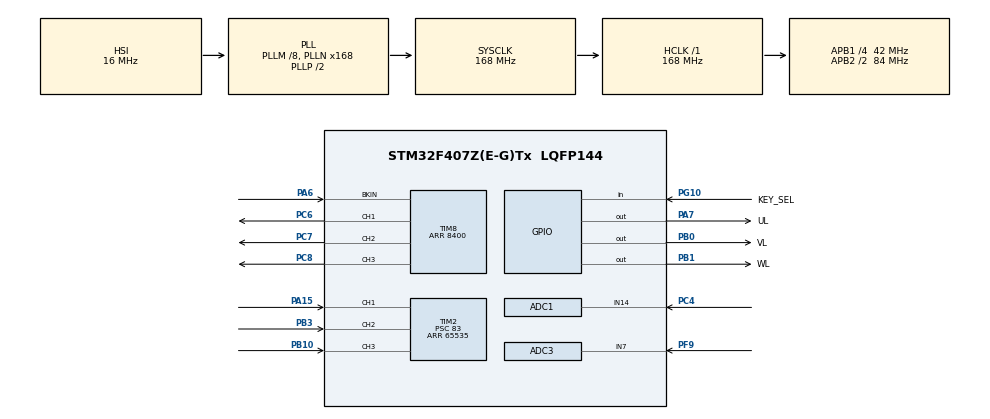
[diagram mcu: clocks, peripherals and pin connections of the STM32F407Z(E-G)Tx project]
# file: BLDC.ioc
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ADC1.Channel-0\#ChannelRegularConversion=ADC_CHANNEL_14
ADC1.DMAContinuousRequests=ENABLE
ADC1.NbrOfConversionFlag=1
ADC1.Rank-0\#ChannelRegularConversion=1
ADC1.SamplingTime-0\#ChannelRegularConversion=ADC_SAMPLETIME_3CYCLES
ADC1.master=1
ADC3.Channel-0\#ChannelRegularConversion=ADC_CHANNEL_7
ADC3.DMAContinuousRequests=ENABLE
ADC3.NbrOfConversionFlag=1
Dma.ADC1.1.Direction=DMA_PERIPH_TO_MEMORY
Dma.ADC1.1.FIFOMode=DMA_FIFOMODE_DISABLE
Dma.ADC1.1.Instance=DMA2_Stream0
Dma.ADC1.1.MemDataAlignment=DMA_MDATAALIGN_HALFWORD
Dma.ADC1.1.MemInc=DMA_MINC_ENABLE
Dma.ADC1.1.Mode=DMA_CIRCULAR
Dma.ADC1.1.PeriphDataAlignment=DMA_PDATAALIGN_HALFWORD
Dma.ADC1.1.PeriphInc=DMA_PINC_DISABLE
Dma.ADC1.1.Priority=DMA_PRIORITY_HIGH
Dma.ADC3.0.Direction=DMA_PERIPH_TO_MEMORY
Dma.ADC3.0.FIFOMode=DMA_FIFOMODE_DISABLE
Dma.ADC3.0.Instance=DMA2_Stream1
Dma.ADC3.0.MemDataAlignment=DMA_MDATAALIGN_HALFWORD
Dma.ADC3.0.MemInc=DMA_MINC_ENABLE
Dma.ADC3.0.Mode=DMA_CIRCULAR
Dma.ADC3.0.PeriphDataAlignment=DMA_PDATAALIGN_HALFWORD
Dma.ADC3.0.PeriphInc=DMA_PINC_DISABLE
Dma.ADC3.0.Priority=DMA_PRIORITY_HIGH
Dma.Request0=ADC3
Dma.Request1=ADC1
Mcu.Family=STM32F4
Mcu.Name=STM32F407Z(E-G)Tx
Mcu.Package=LQFP144
NVIC.DMA2_Stream0_IRQn=true\:0\:0\:false\:false\:true\:false\:true
NVIC.DMA2_Stream1_IRQn=true\:0\:0\:false\:false\:true\:false\:true
NVIC.PriorityGroup=NVIC_PRIORITYGROUP_4
NVIC.TIM2_IRQn=true\:0\:0\:false\:false\:true\:true\:true
NVIC.TIM3_IRQn=true\:0\:0\:false\:false\:true\:true\:true
NVIC.TIM8_BRK_TIM12_IRQn=true\:0\:0\:false\:false\:true\:true\:true
PA13.Mode=Serial_Wire
PA13.Signal=SYS_JTMS-SWDIO
PA14.Mode=Serial_Wire
PA14.Signal=SYS_JTCK-SWCLK
PA15.Signal=S_TIM2_CH1_ETR
PA6.Mode=Activate-Break-Input
PA6.Signal=TIM8_BKIN
PA7.GPIO_Label=UL
PA7.GPIO_ModeDefaultOutputPP=GPIO_MODE_OUTPUT_PP
PA7.GPIO_PuPd=GPIO_PULLUP
PA7.GPIO_Speed=GPIO_SPEED_FREQ_VERY_HIGH
PA7.PinState=GPIO_PIN_RESET
PA7.Signal=GPIO_Output
PB0.GPIO_Label=VL
PB0.GPIO_ModeDefaultOutputPP=GPIO_MODE_OUTPUT_PP
PB0.GPIO_PuPd=GPIO_PULLUP
PB0.GPIO_Speed=GPIO_SPEED_FREQ_VERY_HIGH
PB0.PinState=GPIO_PIN_RESET
PB0.Signal=GPIO_Output
PB1.GPIO_Label=WL
PB1.GPIO_ModeDefaultOutputPP=GPIO_MODE_OUTPUT_PP
PB1.GPIO_PuPd=GPIO_PULLUP
PB1.GPIO_Speed=GPIO_SPEED_FREQ_VERY_HIGH
PB1.PinState=GPIO_PIN_RESET
PB1.Signal=GPIO_Output
PB10.Signal=S_TIM2_CH3
PB3.Signal=S_TIM2_CH2
PC4.Signal=ADCx_IN14
PC6.GPIO_Speed=GPIO_SPEED_FREQ_VERY_HIGH
PC6.Signal=S_TIM8_CH1
PC7.GPIO_Speed=GPIO_SPEED_FREQ_VERY_HIGH
PC7.Signal=S_TIM8_CH2
PC8.GPIO_Speed=GPIO_SPEED_FREQ_VERY_HIGH
PC8.Signal=S_TIM8_CH3
PF9.Mode=IN7
PF9.Signal=ADC3_IN7
PG10.GPIO_Label=KEY_SEL
PG10.GPIO_Mode=GPIO_MODE_INPUT
PG10.GPIO_PuPd=GPIO_PULLUP
PG10.Signal=GPIO_Input
PH0-OSC_IN.Mode=HSE-External-Oscillator
PH0-OSC_IN.Signal=RCC_OSC_IN
PH1-OSC_OUT.Mode=HSE-External-Oscillator
PH1-OSC_OUT.Signal=RCC_OSC_OUT
ProjectManager.HeapSize=0x200
ProjectManager.StackSize=0x400
ProjectManager.TargetToolchain=MDK-ARM V5.27
RCC.48MHZClocksFreq_Value=84000000
RCC.AHBFreq_Value=168000000
RCC.APB1CLKDivider=RCC_HCLK_DIV4
RCC.APB1Freq_Value=42000000
RCC.APB1TimFreq_Value=84000000
RCC.APB2CLKDivider=RCC_HCLK_DIV2
RCC.APB2Freq_Value=84000000
RCC.APB2TimFreq_Value=168000000
RCC.CortexFreq_Value=168000000
RCC.HCLKFreq_Value=168000000
RCC.HSE_VALUE=25000000
RCC.HSI_VALUE=16000000
RCC.LSE_VALUE=32768
RCC.PLLM=8
RCC.PLLN=168
RCC.SYSCLKFreq_VALUE=168000000
RCC.SYSCLKSource=RCC_SYSCLKSOURCE_PLLCLK
RCC.VCOOutputFreq_Value=336000000
SH.ADCx_IN14.0=ADC1_IN14,IN14
SH.S_TIM2_CH1_ETR.0=TIM2_CH1,Input_Capture1_from_TI1
SH.S_TIM2_CH2.0=TIM2_CH2,Input_Capture2_from_TI2
SH.S_TIM2_CH3.0=TIM2_CH3,Input_Capture3_from_TI3
SH.S_TIM8_CH1.0=TIM8_CH1,PWM Generation1 CH1
SH.S_TIM8_CH2.0=TIM8_CH2,PWM Generation2 CH2
SH.S_TIM8_CH3.0=TIM8_CH3,PWM Generation3 CH3
TIM2.AutoReloadPreload=TIM_AUTORELOAD_PRELOAD_ENABLE
TIM2.Channel-Input_Capture1_from_TI1=TIM_CHANNEL_1
TIM2.Channel-Input_Capture2_from_TI2=TIM_CHANNEL_2
TIM2.Channel-Input_Capture3_from_TI3=TIM_CHANNEL_3
TIM2.ICFilter_CH1=8
TIM2.ICFilter_CH2=8
TIM2.ICFilter_CH3=8
TIM2.ICPolarity_CH1=TIM_INPUTCHANNELPOLARITY_BOTHEDGE
TIM2.ICPolarity_CH2=TIM_INPUTCHANNELPOLARITY_BOTHEDGE
TIM2.ICPolarity_CH3=TIM_INPUTCHANNELPOLARITY_BOTHEDGE
TIM2.Period=65535
TIM2.Prescaler=83
TIM3.Period=99
TIM3.Prescaler=839
TIM8.AutoReloadPreload=TIM_AUTORELOAD_PRELOAD_ENABLE
TIM8.BreakPolarity=TIM_BREAKPOLARITY_LOW
TIM8.Channel-PWM\ Generation1\ CH1=TIM_CHANNEL_1
TIM8.Channel-PWM\ Generation2\ CH2=TIM_CHANNEL_2
TIM8.Channel-PWM\ Generation3\ CH3=TIM_CHANNEL_3
TIM8.OffStateIDLEMode=TIM_OSSI_ENABLE
TIM8.OffStateRunMode=TIM_OSSR_ENABLE
TIM8.Period=8400
VP_TIM2_VS_ClockSourceINT.Mode=Internal
VP_TIM2_VS_XOR.Mode=XOR_enable
VP_TIM3_VS_ClockSourceINT.Mode=Internal
VP_TIM8_VS_ClockSourceINT.Mode=Internal
board=custom

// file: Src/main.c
/* USER CODE BEGIN Header */
/**
  ******************************************************************************
  * @file           : main.c
  * @brief          : Main program body
  ******************************************************************************
  * @attention
  *
  * <h2><center>&copy; Copyright (c) 2022 STMicroelectronics.
  * All rights reserved.</center></h2>
  *
  * This software component is licensed by ST under BSD 3-Clause license,
  * the "License"; You may not use this file except in compliance with the
  * License. You may obtain a copy of the License at:
  *                        opensource.org/licenses/BSD-3-Clause
  *
  ******************************************************************************
  */
/* USER CODE END Header */

#include "main.h"

/* USER CODE BEGIN Includes */
#include "stm32_2.8_lcd.h"
/* USER CODE END Includes */

/* USER CODE BEGIN PD */
#define PWM_AL_OFF HAL_GPIO_WritePin(UL_GPIO_Port, UL_Pin, GPIO_PIN_RESET)
#define PWM_BL_OFF HAL_GPIO_WritePin(VL_GPIO_Port, VL_Pin, GPIO_PIN_RESET)
#define PWM_CL_OFF HAL_GPIO_WritePin(WL_GPIO_Port, WL_Pin, GPIO_PIN_RESET)

#define PWM_AL_ON HAL_GPIO_WritePin(UL_GPIO_Port, UL_Pin, GPIO_PIN_SET)
#define PWM_BL_ON HAL_GPIO_WritePin(VL_GPIO_Port, VL_Pin, GPIO_PIN_SET)
#define PWM_CL_ON HAL_GPIO_WritePin(WL_GPIO_Port, WL_Pin, GPIO_PIN_SET)

#define PERIOD 10     //采样周期
#define Kp 1.6     //比例系数
#define Ki 1      //积分时间常数
#define Kd 0      //微分时间常数
/* USER CODE END PD */

ADC_HandleTypeDef hadc1;
ADC_HandleTypeDef hadc3;
DMA_HandleTypeDef hdma_adc1;
DMA_HandleTypeDef hdma_adc3;

TIM_HandleTypeDef htim2;
TIM_HandleTypeDef htim3;
TIM_HandleTypeDef htim8;

/* USER CODE BEGIN PV */
uint32_t ADC_ConvertedValue0;
uint32_t ADC_ConvertedValue1;
int RSpeed=0, Out_PWM=0, SETSPEED=0;
int timecount, timecount1, Hallcount=0, key_1=0;
int Motor_Start_F=0, hall_status;
int hall_a, hall_b, hall_c;
double RV1=7.32;
double RV2=1120;
double t,vbus;
/* USER CODE END PV */

void SystemClock_Config(void);
static void MX_GPIO_Init(void);
static void MX_DMA_Init(void);
static void MX_ADC1_Init(void);
static void MX_ADC3_Init(void);
static void MX_TIM2_Init(void);
static void MX_TIM3_Init(void);
static void MX_TIM8_Init(void);

int main(void)
{

  /* MCU Configuration--------------------------------------------------------*/

  /* Reset of all peripherals, Initializes the Flash interface and the Systick. */
  HAL_Init();

  /* Configure the system clock */
  SystemClock_Config();

  /* Initialize all configured peripherals */
  MX_GPIO_Init();
  MX_DMA_Init();
  MX_ADC1_Init();
  MX_ADC3_Init();
  MX_TIM2_Init();
  MX_TIM3_Init();
  MX_TIM8_Init();
  /* USER CODE BEGIN 2 */
HAL_NVIC_DisableIRQ(DMA2_Stream0_IRQn);
STM32_LCD_Init();
LCD_Clear(BackColor);
LCD_SetTextColor(Blue);
LCD_DisplayStringLine(0, "Speed Set(rpm)");
LCD_DisplayStringLine(2, "Measured Speed(rpm)");
LCD_DisplayStringLine(4, "VBus");
LCD_SetTextColor(Red);
LCD_Draw_NUM(25, 280, SETSPEED);
LCD_Draw_NUM(75, 280, RSpeed);

HAL_ADC_Start(&hadc1);
HAL_ADC_Start_DMA(&hadc1,(uint32_t *)&ADC_ConvertedValue0,1);

HAL_ADC_Start(&hadc3);
HAL_ADC_Start_DMA(&hadc3,(uint32_t *)&ADC_ConvertedValue1,1);

HAL_TIM_Base_Start_IT(&htim3);

__HAL_TIM_ENABLE_IT(&htim3,TIM_IT_BREAK);

HAL_TIM_IC_Start_IT(&htim2,TIM_CHANNEL_1);
HAL_TIM_IC_Start_IT(&htim2,TIM_CHANNEL_2);
HAL_TIM_IC_Start_IT(&htim2,TIM_CHANNEL_3);
  /* USER CODE END 2 */

  /* Infinite loop */
  /* USER CODE BEGIN WHILE */
while (1)
{

		if(HAL_GPIO_ReadPin(KEY_SEL_GPIO_Port,KEY_SEL_Pin)==GPIO_PIN_SET) key_1=0;
		else if(key_1==0)
		{
			HAL_Delay(10); //延时消抖，按键按下
			if(HAL_GPIO_ReadPin(KEY_SEL_GPIO_Port,KEY_SEL_Pin)==GPIO_PIN_RESET)
			{
				key_1=1;
				Motor_Start_F=1-Motor_Start_F; //改变电机启停状

				if(Motor_Start_F==0) //电机停止状态
				{
					HAL_GPIO_WritePin(GPIOA, GPIO_PIN_6, GPIO_PIN_RESET);

					PWM_AL_OFF;PWM_CL_OFF; PWM_BL_OFF;
					HAL_TIM_PWM_Stop(&htim8,TIM_CHANNEL_1);
					HAL_TIM_PWM_Stop(&htim8,TIM_CHANNEL_2);
					HAL_TIM_PWM_Stop(&htim8,TIM_CHANNEL_3);

					__HAL_TIM_SetCompare(&htim8,TIM_CHANNEL_1, 0);
					__HAL_TIM_SetCompare(&htim8,TIM_CHANNEL_2, 0);
					__HAL_TIM_SetCompare(&htim8,TIM_CHANNEL_3, 0);
					//Motor_Start_F=0;
				}
				else
				{
					__HAL_TIM_SetCompare(&htim8,TIM_CHANNEL_1,Out_PWM);
					__HAL_TIM_SetCompare(&htim8,TIM_CHANNEL_2,Out_PWM);
					__HAL_TIM_SetCompare(&htim8,TIM_CHANNEL_3,Out_PWM);
					HAL_TIM_IC_CaptureCallback(&htim2);//调用一次开启换相，启动电机运行
					HAL_Delay(4);
					HAL_TIM_IC_CaptureCallback(&htim2);
				}
			}
	}

		if(timecount1>=50)
		{
			timecount1=0;
			HAL_ADC_Start_DMA(&hadc1,(uint32_t*)ADC_ConvertedValue1,1);
			HAL_ADC_Start_DMA(&hadc3,(uint32_t*)ADC_ConvertedValue0,1);
			HAL_Delay(5);
			Out_PWM= ADC_ConvertedValue0;
			t = ADC_ConvertedValue0;
			SETSPEED=t;
			LCD_Draw_NUM(25,280,SETSPEED);

			vbus = ADC_ConvertedValue1;

			vbus = vbus/4096*3.3/RV1*(RV1+RV2);

			//LCD_Draw_NUM(120,280,temp);
			LCD_Draw_NUM(125,280,vbus);
		}
		if(timecount>=20)
		{
			timecount=0;
			RSpeed=Hallcount*125;
			Hallcount=0;
			LCD_Draw_NUM(75,280,RSpeed);
			if(Motor_Start_F)
			{
				__HAL_TIM_SetCompare(&htim8,TIM_CHANNEL_1, Out_PWM);
				__HAL_TIM_SetCompare(&htim8,TIM_CHANNEL_2, Out_PWM);
				__HAL_TIM_SetCompare(&htim8,TIM_CHANNEL_3, Out_PWM);
			}
		}

    /* USER CODE END WHILE */

  }
}

void SystemClock_Config(void)
{
  RCC_OscInitTypeDef RCC_OscInitStruct = {0};
  RCC_ClkInitTypeDef RCC_ClkInitStruct = {0};

  /** Configure the main internal regulator output voltage
  */
  __HAL_RCC_PWR_CLK_ENABLE();
  __HAL_PWR_VOLTAGESCALING_CONFIG(PWR_REGULATOR_VOLTAGE_SCALE1);
  /** Initializes the CPU, AHB and APB busses clocks
  */
  RCC_OscInitStruct.OscillatorType = RCC_OSCILLATORTYPE_HSI;
  RCC_OscInitStruct.HSIState = RCC_HSI_ON;
  RCC_OscInitStruct.HSICalibrationValue = RCC_HSICALIBRATION_DEFAULT;
  RCC_OscInitStruct.PLL.PLLState = RCC_PLL_ON;
  RCC_OscInitStruct.PLL.PLLSource = RCC_PLLSOURCE_HSI;
  RCC_OscInitStruct.PLL.PLLM = 8;
  RCC_OscInitStruct.PLL.PLLN = 168;
  RCC_OscInitStruct.PLL.PLLP = RCC_PLLP_DIV2;
  RCC_OscInitStruct.PLL.PLLQ = 4;
  if (HAL_RCC_OscConfig(&RCC_OscInitStruct) != HAL_OK)
  {
    Error_Handler();
  }
  /** Initializes the CPU, AHB and APB busses clocks
  */
  RCC_ClkInitStruct.ClockType = RCC_CLOCKTYPE_HCLK|RCC_CLOCKTYPE_SYSCLK
                              |RCC_CLOCKTYPE_PCLK1|RCC_CLOCKTYPE_PCLK2;
  RCC_ClkInitStruct.SYSCLKSource = RCC_SYSCLKSOURCE_PLLCLK;
  RCC_ClkInitStruct.AHBCLKDivider = RCC_SYSCLK_DIV1;
  RCC_ClkInitStruct.APB1CLKDivider = RCC_HCLK_DIV4;
  RCC_ClkInitStruct.APB2CLKDivider = RCC_HCLK_DIV2;

  if (HAL_RCC_ClockConfig(&RCC_ClkInitStruct, FLASH_LATENCY_5) != HAL_OK)
  {
    Error_Handler();
  }
}

static void MX_ADC1_Init(void)
{

  ADC_ChannelConfTypeDef sConfig = {0};

  /** Configure the global features of the ADC (Clock, Resolution, Data Alignment and number of conversion)
  */
  hadc1.Instance = ADC1;
  hadc1.Init.ClockPrescaler = ADC_CLOCK_SYNC_PCLK_DIV4;
  hadc1.Init.Resolution = ADC_RESOLUTION_12B;
  hadc1.Init.ScanConvMode = DISABLE;
  hadc1.Init.ContinuousConvMode = DISABLE;
  hadc1.Init.DiscontinuousConvMode = DISABLE;
  hadc1.Init.ExternalTrigConvEdge = ADC_EXTERNALTRIGCONVEDGE_NONE;
  hadc1.Init.ExternalTrigConv = ADC_SOFTWARE_START;
  hadc1.Init.DataAlign = ADC_DATAALIGN_RIGHT;
  hadc1.Init.NbrOfConversion = 1;
  hadc1.Init.DMAContinuousRequests = ENABLE;
  hadc1.Init.EOCSelection = ADC_EOC_SINGLE_CONV;
  if (HAL_ADC_Init(&hadc1) != HAL_OK)
  {
    Error_Handler();
  }
  /** Configure for the selected ADC regular channel its corresponding rank in the sequencer and its sample time.
  */
  sConfig.Channel = ADC_CHANNEL_14;
  sConfig.Rank = 1;
  sConfig.SamplingTime = ADC_SAMPLETIME_3CYCLES;
  if (HAL_ADC_ConfigChannel(&hadc1, &sConfig) != HAL_OK)
  {
    Error_Handler();
  }

}

static void MX_ADC3_Init(void)
{

  ADC_ChannelConfTypeDef sConfig = {0};

  /** Configure the global features of the ADC (Clock, Resolution, Data Alignment and number of conversion)
  */
  hadc3.Instance = ADC3;
  hadc3.Init.ClockPrescaler = ADC_CLOCK_SYNC_PCLK_DIV4;
  hadc3.Init.Resolution = ADC_RESOLUTION_12B;
  hadc3.Init.ScanConvMode = DISABLE;
  hadc3.Init.ContinuousConvMode = DISABLE;
  hadc3.Init.DiscontinuousConvMode = DISABLE;
  hadc3.Init.ExternalTrigConvEdge = ADC_EXTERNALTRIGCONVEDGE_NONE;
  hadc3.Init.ExternalTrigConv = ADC_SOFTWARE_START;
  hadc3.Init.DataAlign = ADC_DATAALIGN_RIGHT;
  hadc3.Init.NbrOfConversion = 1;
  hadc3.Init.DMAContinuousRequests = ENABLE;
  hadc3.Init.EOCSelection = ADC_EOC_SINGLE_CONV;
  if (HAL_ADC_Init(&hadc3) != HAL_OK)
  {
    Error_Handler();
  }
  /** Configure for the selected ADC regular channel its corresponding rank in the sequencer and its sample time.
  */
  sConfig.Channel = ADC_CHANNEL_7;
  sConfig.Rank = 1;
  sConfig.SamplingTime = ADC_SAMPLETIME_3CYCLES;
  if (HAL_ADC_ConfigChannel(&hadc3, &sConfig) != HAL_OK)
  {
    Error_Handler();
  }

}

static void MX_TIM2_Init(void)
{

  TIM_ClockConfigTypeDef sClockSourceConfig = {0};
  TIM_MasterConfigTypeDef sMasterConfig = {0};
  TIM_IC_InitTypeDef sConfigIC = {0};

  htim2.Instance = TIM2;
  htim2.Init.Prescaler = 83;
  htim2.Init.CounterMode = TIM_COUNTERMODE_UP;
  htim2.Init.Period = 65535;
  htim2.Init.ClockDivision = TIM_CLOCKDIVISION_DIV1;
  htim2.Init.AutoReloadPreload = TIM_AUTORELOAD_PRELOAD_ENABLE;
  if (HAL_TIM_Base_Init(&htim2) != HAL_OK)
  {
    Error_Handler();
  }
  sClockSourceConfig.ClockSource = TIM_CLOCKSOURCE_INTERNAL;
  if (HAL_TIM_ConfigClockSource(&htim2, &sClockSourceConfig) != HAL_OK)
  {
    Error_Handler();
  }
  if (HAL_TIM_IC_Init(&htim2) != HAL_OK)
  {
    Error_Handler();
  }
  sMasterConfig.MasterOutputTrigger = TIM_TRGO_RESET;
  sMasterConfig.MasterSlaveMode = TIM_MASTERSLAVEMODE_DISABLE;
  if (HAL_TIMEx_MasterConfigSynchronization(&htim2, &sMasterConfig) != HAL_OK)
  {
    Error_Handler();
  }
  sConfigIC.ICPolarity = TIM_INPUTCHANNELPOLARITY_BOTHEDGE;
  sConfigIC.ICSelection = TIM_ICSELECTION_DIRECTTI;
  sConfigIC.ICPrescaler = TIM_ICPSC_DIV1;
  sConfigIC.ICFilter = 8;
  if (HAL_TIM_IC_ConfigChannel(&htim2, &sConfigIC, TIM_CHANNEL_1) != HAL_OK)
  {
    Error_Handler();
  }
  if (HAL_TIM_IC_ConfigChannel(&htim2, &sConfigIC, TIM_CHANNEL_2) != HAL_OK)
  {
    Error_Handler();
  }
  if (HAL_TIM_IC_ConfigChannel(&htim2, &sConfigIC, TIM_CHANNEL_3) != HAL_OK)
  {
    Error_Handler();
  }
  if (HAL_TIM_ConfigTI1Input(&htim2, TIM_TI1SELECTION_XORCOMBINATION) != HAL_OK)
  {
    Error_Handler();
  }

}

static void MX_TIM3_Init(void)
{

  TIM_ClockConfigTypeDef sClockSourceConfig = {0};
  TIM_MasterConfigTypeDef sMasterConfig = {0};

  htim3.Instance = TIM3;
  htim3.Init.Prescaler = 839;
  htim3.Init.CounterMode = TIM_COUNTERMODE_UP;
  htim3.Init.Period = 99;
  htim3.Init.ClockDivision = TIM_CLOCKDIVISION_DIV1;
  htim3.Init.AutoReloadPreload = TIM_AUTORELOAD_PRELOAD_DISABLE;
  if (HAL_TIM_Base_Init(&htim3) != HAL_OK)
  {
    Error_Handler();
  }
  sClockSourceConfig.ClockSource = TIM_CLOCKSOURCE_INTERNAL;
  if (HAL_TIM_ConfigClockSource(&htim3, &sClockSourceConfig) != HAL_OK)
  {
    Error_Handler();
  }
  sMasterConfig.MasterOutputTrigger = TIM_TRGO_RESET;
  sMasterConfig.MasterSlaveMode = TIM_MASTERSLAVEMODE_DISABLE;
  if (HAL_TIMEx_MasterConfigSynchronization(&htim3, &sMasterConfig) != HAL_OK)
  {
    Error_Handler();
  }

}

static void MX_TIM8_Init(void)
{

  TIM_ClockConfigTypeDef sClockSourceConfig = {0};
  TIM_MasterConfigTypeDef sMasterConfig = {0};
  TIM_OC_InitTypeDef sConfigOC = {0};
  TIM_BreakDeadTimeConfigTypeDef sBreakDeadTimeConfig = {0};

  htim8.Instance = TIM8;
  htim8.Init.Prescaler = 0;
  htim8.Init.CounterMode = TIM_COUNTERMODE_UP;
  htim8.Init.Period = 8400;
  htim8.Init.ClockDivision = TIM_CLOCKDIVISION_DIV1;
  htim8.Init.RepetitionCounter = 0;
  htim8.Init.AutoReloadPreload = TIM_AUTORELOAD_PRELOAD_ENABLE;
  if (HAL_TIM_Base_Init(&htim8) != HAL_OK)
  {
    Error_Handler();
  }
  sClockSourceConfig.ClockSource = TIM_CLOCKSOURCE_INTERNAL;
  if (HAL_TIM_ConfigClockSource(&htim8, &sClockSourceConfig) != HAL_OK)
  {
    Error_Handler();
  }
  if (HAL_TIM_PWM_Init(&htim8) != HAL_OK)
  {
    Error_Handler();
  }
  sMasterConfig.MasterOutputTrigger = TIM_TRGO_RESET;
  sMasterConfig.MasterSlaveMode = TIM_MASTERSLAVEMODE_DISABLE;
  if (HAL_TIMEx_MasterConfigSynchronization(&htim8, &sMasterConfig) != HAL_OK)
  {
    Error_Handler();
  }
  sConfigOC.OCMode = TIM_OCMODE_PWM1;
  sConfigOC.Pulse = 0;
  sConfigOC.OCPolarity = TIM_OCPOLARITY_HIGH;
  sConfigOC.OCNPolarity = TIM_OCNPOLARITY_HIGH;
  sConfigOC.OCFastMode = TIM_OCFAST_DISABLE;
  sConfigOC.OCIdleState = TIM_OCIDLESTATE_RESET;
  sConfigOC.OCNIdleState = TIM_OCNIDLESTATE_RESET;
  if (HAL_TIM_PWM_ConfigChannel(&htim8, &sConfigOC, TIM_CHANNEL_1) != HAL_OK)
  {
    Error_Handler();
  }
  if (HAL_TIM_PWM_ConfigChannel(&htim8, &sConfigOC, TIM_CHANNEL_2) != HAL_OK)
  {
    Error_Handler();
  }
  if (HAL_TIM_PWM_ConfigChannel(&htim8, &sConfigOC, TIM_CHANNEL_3) != HAL_OK)
  {
    Error_Handler();
  }
  sBreakDeadTimeConfig.OffStateRunMode = TIM_OSSR_ENABLE;
  sBreakDeadTimeConfig.OffStateIDLEMode = TIM_OSSI_ENABLE;
  sBreakDeadTimeConfig.LockLevel = TIM_LOCKLEVEL_OFF;
  sBreakDeadTimeConfig.DeadTime = 0;
  sBreakDeadTimeConfig.BreakState = TIM_BREAK_ENABLE;
  sBreakDeadTimeConfig.BreakPolarity = TIM_BREAKPOLARITY_LOW;
  sBreakDeadTimeConfig.AutomaticOutput = TIM_AUTOMATICOUTPUT_DISABLE;
  if (HAL_TIMEx_ConfigBreakDeadTime(&htim8, &sBreakDeadTimeConfig) != HAL_OK)
  {
    Error_Handler();
  }
  HAL_TIM_MspPostInit(&htim8);

}

static void MX_DMA_Init(void)
{

  /* DMA controller clock enable */
  __HAL_RCC_DMA2_CLK_ENABLE();

  /* DMA interrupt init */
  /* DMA2_Stream0_IRQn interrupt configuration */
  HAL_NVIC_SetPriority(DMA2_Stream0_IRQn, 0, 0);
  HAL_NVIC_EnableIRQ(DMA2_Stream0_IRQn);
  /* DMA2_Stream1_IRQn interrupt configuration */
  HAL_NVIC_SetPriority(DMA2_Stream1_IRQn, 0, 0);
  HAL_NVIC_EnableIRQ(DMA2_Stream1_IRQn);

}

static void MX_GPIO_Init(void)
{
  GPIO_InitTypeDef GPIO_InitStruct = {0};

  /* GPIO Ports Clock Enable */
  __HAL_RCC_GPIOF_CLK_ENABLE();
  __HAL_RCC_GPIOH_CLK_ENABLE();
  __HAL_RCC_GPIOA_CLK_ENABLE();
  __HAL_RCC_GPIOC_CLK_ENABLE();
  __HAL_RCC_GPIOB_CLK_ENABLE();
  __HAL_RCC_GPIOG_CLK_ENABLE();

  /*Configure GPIO pin Output Level */
  HAL_GPIO_WritePin(UL_GPIO_Port, UL_Pin, GPIO_PIN_RESET);

  /*Configure GPIO pin Output Level */
  HAL_GPIO_WritePin(GPIOB, VL_Pin|WL_Pin, GPIO_PIN_RESET);

  /*Configure GPIO pin : UL_Pin */
  GPIO_InitStruct.Pin = UL_Pin;
  GPIO_InitStruct.Mode = GPIO_MODE_OUTPUT_PP;
  GPIO_InitStruct.Pull = GPIO_PULLUP;
  GPIO_InitStruct.Speed = GPIO_SPEED_FREQ_VERY_HIGH;
  HAL_GPIO_Init(UL_GPIO_Port, &GPIO_InitStruct);

  /*Configure GPIO pins : VL_Pin WL_Pin */
  GPIO_InitStruct.Pin = VL_Pin|WL_Pin;
  GPIO_InitStruct.Mode = GPIO_MODE_OUTPUT_PP;
  GPIO_InitStruct.Pull = GPIO_PULLUP;
  GPIO_InitStruct.Speed = GPIO_SPEED_FREQ_VERY_HIGH;
  HAL_GPIO_Init(GPIOB, &GPIO_InitStruct);

  /*Configure GPIO pin : KEY_SEL_Pin */
  GPIO_InitStruct.Pin = KEY_SEL_Pin;
  GPIO_InitStruct.Mode = GPIO_MODE_INPUT;
  GPIO_InitStruct.Pull = GPIO_PULLUP;
  HAL_GPIO_Init(KEY_SEL_GPIO_Port, &GPIO_InitStruct);

}

/* USER CODE BEGIN 4 */
void HAL_TIM_PeriodElapsedCallback(TIM_HandleTypeDef *htim)
{
  /* Prevent unused argument(s) compilation warning */
  UNUSED(htim);

  /* NOTE : This function should not be modified, when the callback is needed,
            the HAL_TIM_PeriodElapsedCallback could be implemented in the user file
   */
	if(htim->Instance==TIM3)
	{
		timecount++; timecount1++;
	}
}

void HAL_TIMEx_BreakCallback(TIM_HandleTypeDef *htim)
{
  /* Prevent unused argument(s) compilation warning */
  UNUSED(htim);

  /* NOTE : This function should not be modified, when the callback is needed,
            the HAL_TIMEx_BreakCallback could be implemented in the user file
   */
	if(htim->Instance==TIM8)
	{
		HAL_TIM_PWM_Stop(&htim8,TIM_CHANNEL_3);
		HAL_TIM_PWM_Stop(&htim8,TIM_CHANNEL_2);
		HAL_TIM_PWM_Stop(&htim8,TIM_CHANNEL_1);
		PWM_AL_OFF;
		PWM_BL_OFF;
		PWM_CL_OFF;
		//MCL_SetFault(OVER_CURRENT) ; //BKIN低电平过流产生
		__HAL_TIM_DISABLE_IT(&htim8, TIM_IT_BREAK);
	}
}

void HAL_TIM_IC_CaptureCallback(TIM_HandleTypeDef *htim)
{
  /* Prevent unused argument(s) compilation warning */
  UNUSED(htim);

  /* NOTE : This function should not be modified, when the callback is needed,
            the HAL_TIM_IC_CaptureCallback could be implemented in the user file
   */
	//if(ErrorCode!=0) return;
	Hallcount++;
	if(HAL_GPIO_ReadPin(GPIOB,GPIO_PIN_10)==GPIO_PIN_SET)
		hall_c=1;
	else
		hall_c=0;
	if(HAL_GPIO_ReadPin(GPIOB,GPIO_PIN_3)==GPIO_PIN_SET)
		hall_b=1;
	else
		hall_b=0;
	if(HAL_GPIO_ReadPin(GPIOA,GPIO_PIN_15)==GPIO_PIN_SET)
		hall_a=1;
	else
		hall_a=0;

	 if(hall_a==1 && hall_b==0 && hall_c == 1)
  {
		HAL_TIM_PWM_Start(&htim8,TIM_CHANNEL_1);
		HAL_TIM_PWM_Stop(&htim8,TIM_CHANNEL_2);
		HAL_TIM_PWM_Stop(&htim8,TIM_CHANNEL_3);

		PWM_AL_OFF;
		PWM_BL_ON;
		PWM_CL_OFF;

	}
	if(hall_a==1 && hall_b==0 && hall_c==0)
 {
	 	HAL_TIM_PWM_Start(&htim8,TIM_CHANNEL_1);
		HAL_TIM_PWM_Stop(&htim8,TIM_CHANNEL_2);
		HAL_TIM_PWM_Stop(&htim8,TIM_CHANNEL_3);

	  PWM_AL_OFF;
		PWM_BL_OFF;
		PWM_CL_ON;
  }
 	if(hall_a==1 && hall_b==1 && hall_c==0)
 {
	 	HAL_TIM_PWM_Start(&htim8,TIM_CHANNEL_2);
		HAL_TIM_PWM_Stop(&htim8,TIM_CHANNEL_1);
		HAL_TIM_PWM_Stop(&htim8,TIM_CHANNEL_3);

	  PWM_AL_OFF;
		PWM_BL_OFF;
		PWM_CL_ON;
  }
  if(hall_a==0 && hall_b== 1 && hall_c == 0)
  {
		HAL_TIM_PWM_Stop(&htim8,TIM_CHANNEL_1);
		HAL_TIM_PWM_Start(&htim8,TIM_CHANNEL_2);
		HAL_TIM_PWM_Stop(&htim8,TIM_CHANNEL_3);

	  PWM_AL_ON;
		PWM_BL_OFF;
		PWM_CL_OFF;
  }
	if(hall_a==0 && hall_b == 1 && hall_c == 1)
  {
	  HAL_TIM_PWM_Start(&htim8,TIM_CHANNEL_3);
		HAL_TIM_PWM_Stop(&htim8,TIM_CHANNEL_2);
		HAL_TIM_PWM_Stop(&htim8,TIM_CHANNEL_1);

	  PWM_AL_ON;
		PWM_BL_OFF;
		PWM_CL_OFF;
  }
	if(hall_a==0 && hall_b ==0 && hall_c == 1)
  {
	  HAL_TIM_PWM_Start(&htim8,TIM_CHANNEL_3);
		HAL_TIM_PWM_Stop(&htim8,TIM_CHANNEL_2);
		HAL_TIM_PWM_Stop(&htim8,TIM_CHANNEL_1);

	  PWM_AL_OFF;
		PWM_BL_ON;
		PWM_CL_OFF;
   }

}

/*int pidController(int targetV, int actualV)         //增量式PID控制算法
{

	int threshold1=4096;
	int threshold2=0;
  float ek10;
  ek10 = targetV - actualV;                       //实际速度与目标速度的偏差
  u1 = u1 + (Kp * (ek10-ek11) + Ki * ek10 + Kd * (ek10-2*ek11+ek12));
  if (u1 > threshold1)
  {
    u1 = threshold1;         //风速限幅
  }
  if (u1 < threshold2)
  {
    u1 = threshold2;         //风速限幅
  }
  ek12 = ek11;
  ek11 = ek10; //u1=-abs(u1);

  return (int)u1;       //返回PID算法后的PWM数值
}*/

/* USER CODE END 4 */

void Error_Handler(void)
{
}

/************************ (C) COPYRIGHT STMicroelectronics *****END OF FILE****/
